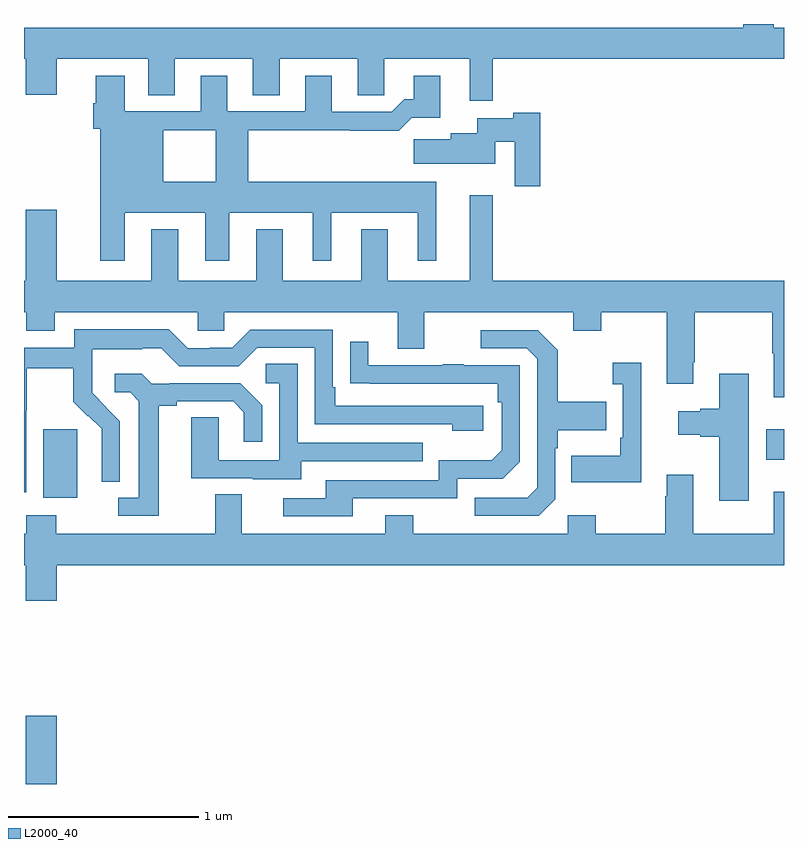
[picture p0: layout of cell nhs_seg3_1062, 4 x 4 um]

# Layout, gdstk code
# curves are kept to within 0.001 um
import gdstk
lib = gdstk.Library(unit=1e-6, precision=1e-09)
def R(c, l, rs):  # rectangles x0, y0, x1, y1
    for r in rs: c.add(gdstk.rectangle(r[:2], r[2:], *l))
def P(c, l, *ps):  # polygons
    for p in ps: c.add(gdstk.Polygon(p, *l))
L2000_40 = (2000, 40)

nhs_seg3_1062 = lib.new_cell('nhs_seg3_1062')
R(nhs_seg3_1062, L2000_40, [(165.008,730.4,165.172,730.759), (165.101,731.906,165.28,732.267), (168.906,732.107,169,732.268)])
P(nhs_seg3_1062, L2000_40, [(167.467,734.216),(169,734.216),(169,734.38),(168.945,734.38),(168.945,734.4),(168.785,734.4),(168.785,734.38),(165,734.38),(165,734.216),(165.008,734.216),(165.008,734.028),(165.172,734.028),(165.172,734.216),(165.653,734.216),(165.653,734.026),(165.793,734.026),(165.793,734.216),(166.205,734.216),(166.205,734.026),(166.345,734.026),(166.345,734.216),(166.757,734.216),(166.757,734.026),(166.896,734.026),(166.896,734.216),(167.345,734.216),(167.345,733.995),(167.467,733.995)],
  [(165.529,733.155),(165.529,733.406),(165.953,733.406),(165.953,733.155),(166.081,733.155),(166.081,733.406),(166.52,733.406),(166.52,733.155),(166.618,733.155),(166.618,733.406),(167.072,733.406),(167.072,733.155),(167.17,733.155),(167.17,733.57),(166.181,733.57),(166.181,733.84),(166.717,733.84),(166.717,733.838),(166.973,733.838),(167.042,733.907),(167.191,733.907),(167.191,734.128),(167.051,734.128),(167.051,734.005),(167.002,734.005),(166.935,733.938),(166.621,733.938),(166.621,734.128),(166.481,734.128),(166.481,733.941),(166.069,733.941),(166.069,734.128),(165.929,734.128),(165.929,733.941),(165.529,733.941),(165.529,734.128),(165.377,734.128),(165.377,733.982),(165.365,733.982),(165.365,733.848),(165.401,733.848),(165.401,733.57),(165.733,733.57),(165.733,733.84),(166.01,733.84),(166.01,733.57),(165.401,733.57),(165.401,733.155)],
  [(167.717,733.933),(167.575,733.933),(167.575,733.903),(167.385,733.903),(167.385,733.825),(167.246,733.825),(167.246,733.793),(167.052,733.793),(167.052,733.664),(167.481,733.664),(167.481,733.781),(167.582,733.781),(167.582,733.545),(167.717,733.545)],
  [(169,733.048),(167.467,733.048),(167.467,733.498),(167.345,733.498),(167.345,733.048),(166.915,733.048),(166.915,733.321),(166.775,733.321),(166.775,733.048),(166.363,733.048),(166.363,733.321),(166.223,733.321),(166.223,733.048),(165.811,733.048),(165.811,733.321),(165.671,733.321),(165.671,733.048),(165.172,733.048),(165.172,733.423),(165.008,733.423),(165.008,733.048),(165,733.048),(165,732.884),(165.011,732.884),(165.011,732.785),(165.163,732.785),(165.163,732.884),(165.915,732.884),(165.915,732.786),(166.053,732.786),(166.053,732.884),(166.967,732.884),(166.967,732.69),(167.107,732.69),(167.107,732.884),(167.891,732.884),(167.891,732.785),(168.039,732.785),(168.039,732.884),(168.383,732.884),(168.383,732.507),(168.523,732.507),(168.523,732.619),(168.531,732.619),(168.531,732.884),(168.937,732.884),(168.937,732.668),(168.947,732.668),(168.947,732.435),(169,732.435)],
  [(165.012,732.364),(165.015,732.364),(165.015,732.588),(165.259,732.588),(165.259,732.413),(165.336,732.336),(165.339,732.339),(165.41,732.269),(165.41,732.146),(165.408,732.146),(165.408,731.992),(165.504,731.992),(165.504,732.31),(165.358,732.458),(165.358,732.555),(165.36,732.555),(165.36,732.689),(165.623,732.689),(165.623,732.693),(165.723,732.693),(165.816,732.6),(166.131,732.6),(166.227,732.696),(166.53,732.696),(166.53,732.294),(167.255,732.294),(167.255,732.26),(167.416,732.26),(167.416,732.39),(166.639,732.39),(166.639,732.487),(166.626,732.487),(166.626,732.792),(166.191,732.792),(166.095,732.696),(165.977,732.696),(165.977,732.693),(165.861,732.693),(165.761,732.793),(165.264,732.793),(165.264,732.696),(165,732.696),(165,731.935),(165.012,731.935)],
  [(167.796,731.898),(167.796,732.167),(167.809,732.167),(167.809,732.263),(168.065,732.263),(168.065,732.411),(167.809,732.411),(167.809,732.683),(167.703,732.789),(167.403,732.789),(167.403,732.693),(167.646,732.693),(167.7,732.639),(167.7,731.958),(167.649,731.907),(167.373,731.907),(167.373,731.811),(167.709,731.811)],
  [(166.729,731.904),(167.28,731.904),(167.28,732.006),(167.52,732.006),(167.61,732.096),(167.61,732.603),(167.315,732.603),(167.315,732.608),(167.203,732.608),(167.203,732.603),(166.813,732.603),(166.813,732.727),(166.717,732.727),(166.717,732.508),(167.494,732.507),(167.494,732.41),(167.514,732.41),(167.514,732.156),(167.461,732.103),(167.184,732.103),(167.184,732),(166.589,732),(166.589,731.904),(166.365,731.904),(166.365,731.808),(166.729,731.808)],
  [(168.248,732.616),(168.099,732.616),(168.099,732.503),(168.15,732.503),(168.15,732.223),(168.138,732.223),(168.138,732.127),(167.881,732.127),(167.881,731.987),(168.248,731.987)],
  [(166.459,732.099),(167.099,732.099),(167.099,732.195),(166.44,732.195),(166.44,732.611),(166.272,732.611),(166.272,732.51),(166.344,732.51),(166.344,732.105),(166.026,732.105),(166.026,732.329),(165.881,732.329),(165.881,732.009),(166.205,732.009),(166.205,732.005),(166.459,732.005)],
  [(165.709,732.392),(165.805,732.392),(165.805,732.414),(166.1,732.414),(166.157,732.357),(166.157,732.201),(166.254,732.201),(166.254,732.394),(166.138,732.51),(165.766,732.51),(165.766,732.507),(165.672,732.507),(165.62,732.559),(165.477,732.559),(165.477,732.462),(165.558,732.462),(165.605,732.415),(165.605,731.907),(165.495,731.907),(165.495,731.811),(165.709,731.811)],
  [(168.814,732.559),(168.659,732.559),(168.659,732.374),(168.56,732.374),(168.56,732.361),(168.444,732.361),(168.444,732.239),(168.56,732.239),(168.56,732.227),(168.659,732.227),(168.659,731.892),(168.814,731.892)],
  [(169,731.938),(168.947,731.938),(168.947,731.716),(168.523,731.716),(168.523,732.028),(168.383,732.028),(168.383,731.915),(168.376,731.915),(168.376,731.716),(168.009,731.716),(168.009,731.815),(167.862,731.815),(167.862,731.716),(167.049,731.716),(167.049,731.815),(166.901,731.815),(166.901,731.716),(166.147,731.716),(166.147,731.924),(166.007,731.924),(166.007,731.716),(165.171,731.716),(165.171,731.815),(165.011,731.815),(165.011,731.716),(165,731.716),(165,731.552),(165.008,731.552),(165.008,731.364),(165.172,731.364),(165.172,731.552),(169,731.552)])

lib.write_gds('nhs_seg3_1062.gds')
